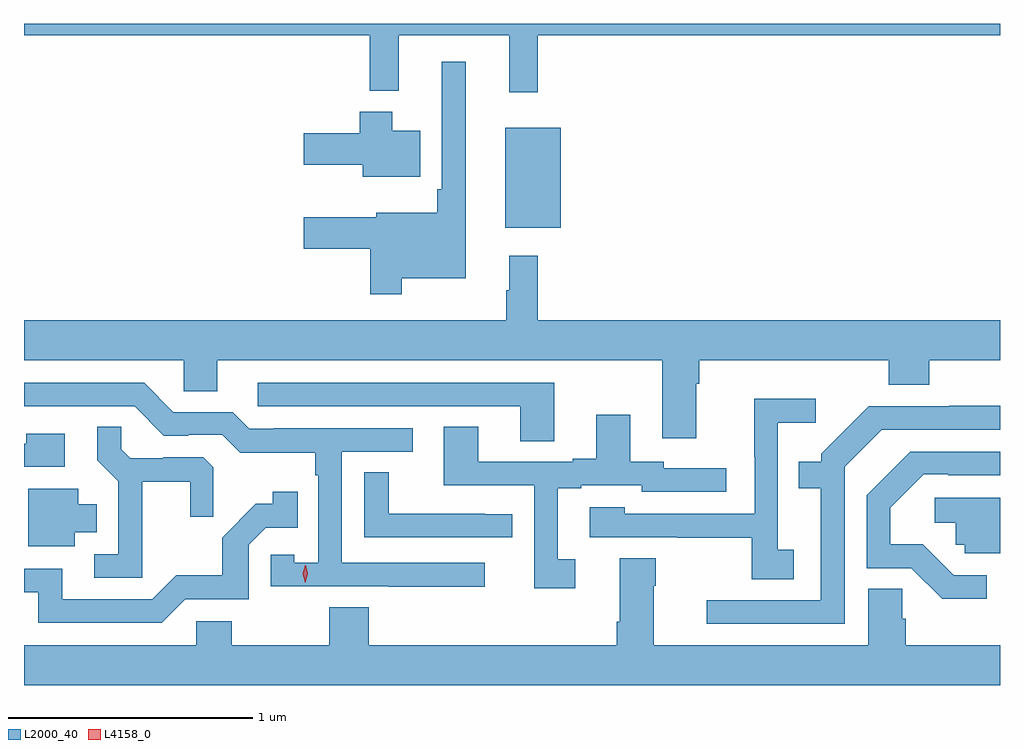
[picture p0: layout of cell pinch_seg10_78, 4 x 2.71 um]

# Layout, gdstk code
import gdstk
lib = gdstk.Library(unit=1e-6, precision=1e-09)
def R(c, l, rs):  # rectangles x0, y0, x1, y1
    for r in rs: c.add(gdstk.rectangle(r[:2], r[2:], *l))
def P(c, l, *ps):  # polygons
    for p in ps: c.add(gdstk.Polygon(p, *l))
L2000_40 = (2000, 40)
L4158_0 = (4158, 0)

pinch_seg10_78 = lib.new_cell('pinch_seg10_78')
R(pinch_seg10_78, L2000_40, [(809.963,1330.163,810.19,1330.573)])
P(pinch_seg10_78, L2000_40, [(810.095,1330.952),(811.99,1330.952),(811.99,1331),(807.99,1331),(807.99,1330.952),(809.407,1330.952),(809.407,1330.724),(809.525,1330.724),(809.525,1330.952),(809.978,1330.952),(809.978,1330.719),(810.095,1330.719)],
  [(809.539,1329.956),(809.8,1329.956),(809.8,1330.843),(809.703,1330.843),(809.703,1330.321),(809.683,1330.321),(809.683,1330.225),(809.433,1330.225),(809.433,1330.207),(809.136,1330.207),(809.136,1330.078),(809.41,1330.078),(809.41,1329.891),(809.539,1329.891)],
  [(809.614,1330.561),(809.5,1330.561),(809.5,1330.639),(809.366,1330.639),(809.366,1330.551),(809.136,1330.551),(809.136,1330.421),(809.378,1330.421),(809.378,1330.373),(809.614,1330.373)],
  [(810.745,1329.524),(810.758,1329.524),(810.758,1329.62),(811.535,1329.62),(811.535,1329.521),(811.7,1329.521),(811.7,1329.62),(811.99,1329.62),(811.99,1329.784),(810.095,1329.784),(810.095,1330.048),(809.978,1330.048),(809.978,1329.908),(809.967,1329.908),(809.967,1329.784),(807.99,1329.784),(807.99,1329.62),(808.644,1329.62),(808.644,1329.493),(808.783,1329.493),(808.783,1329.62),(810.605,1329.62),(810.605,1329.3),(810.745,1329.3)],
  [(809.878,1328.79),(809.292,1328.79),(809.292,1329.246),(809.584,1329.246),(809.584,1329.342),(809.014,1329.342),(809.014,1329.339),(808.914,1329.339),(808.845,1329.408),(808.602,1329.408),(808.482,1329.528),(807.99,1329.528),(807.99,1329.432),(808.443,1329.432),(808.563,1329.312),(808.664,1329.312),(808.664,1329.315),(808.803,1329.315),(808.876,1329.242),(809.184,1329.242),(809.184,1329.149),(809.196,1329.149),(809.196,1328.791),(809.097,1328.791),(809.097,1328.823),(809.001,1328.823),(809.001,1328.694),(809.485,1328.694),(809.485,1328.692),(809.878,1328.692)],
  [(810.163,1329.528),(808.947,1329.528),(808.947,1329.432),(810.023,1329.432),(810.023,1329.289),(810.163,1329.289)],
  [(811.144,1328.844),(811.08,1328.844),(811.08,1329.365),(811.234,1329.365),(811.234,1329.463),(810.982,1329.463),(810.982,1329.224),(810.984,1329.224),(810.984,1328.991),(810.453,1328.991),(810.453,1329.019),(810.309,1329.019),(810.309,1328.895),(810.667,1328.895),(810.667,1328.893),(810.972,1328.893),(810.972,1328.722),(811.144,1328.722)],
  [(811.353,1329.183),(811.506,1329.336),(811.99,1329.336),(811.99,1329.434),(811.783,1329.434),(811.783,1329.432),(811.452,1329.432),(811.257,1329.237),(811.257,1329.205),(811.165,1329.205),(811.165,1329.096),(811.256,1329.096),(811.256,1328.637),(810.789,1328.637),(810.789,1328.541),(811.353,1328.541)],
  [(810.25,1328.805),(810.178,1328.805),(810.178,1329.096),(810.274,1329.096),(810.274,1329.108),(810.522,1329.108),(810.522,1329.081),(810.868,1329.081),(810.868,1329.177),(810.612,1329.177),(810.612,1329.204),(810.475,1329.204),(810.475,1329.397),(810.335,1329.397),(810.335,1329.217),(810.239,1329.217),(810.239,1329.204),(809.851,1329.204),(809.851,1329.347),(809.711,1329.347),(809.711,1329.108),(810.081,1329.108),(810.081,1328.685),(810.25,1328.685)],
  [(808.475,1329.122),(808.672,1329.122),(808.672,1328.979),(808.766,1328.979),(808.766,1329.181),(808.725,1329.222),(808.56,1329.222),(808.56,1329.219),(808.426,1329.219),(808.389,1329.256),(808.389,1329.347),(808.291,1329.347),(808.291,1329.211),(808.377,1329.125),(808.377,1328.826),(808.278,1328.826),(808.278,1328.73),(808.475,1328.73)],
  [(808.156,1329.319),(808,1329.319),(808,1329.279),(807.99,1329.279),(807.99,1329.183),(808.156,1329.183)],
  [(811.936,1328.739),(811.8,1328.739),(811.673,1328.866),(811.54,1328.866),(811.54,1329.016),(811.677,1329.153),(811.777,1329.153),(811.777,1329.15),(811.99,1329.15),(811.99,1329.246),(811.622,1329.246),(811.443,1329.067),(811.443,1328.769),(811.626,1328.769),(811.754,1328.642),(811.936,1328.642)],
  [(809.992,1328.99),(809.879,1328.99),(809.879,1328.991),(809.484,1328.991),(809.484,1329.161),(809.385,1329.161),(809.385,1328.895),(809.992,1328.895)],
  [(808.198,1328.915),(808.288,1328.915),(808.288,1329.031),(808.213,1329.031),(808.213,1329.094),(808.007,1329.094),(808.007,1328.858),(808.198,1328.858)],
  [(808.65,1328.64),(808.911,1328.64),(808.911,1328.865),(808.98,1328.934),(809.111,1328.934),(809.111,1329.082),(809.01,1329.082),(809.01,1329.032),(808.94,1329.032),(808.803,1328.894),(808.803,1328.739),(808.614,1328.739),(808.515,1328.64),(808.147,1328.64),(808.147,1328.766),(807.99,1328.766),(807.99,1328.67),(808.049,1328.67),(808.049,1328.544),(808.554,1328.544)],
  [(811.99,1329.057),(811.722,1329.057),(811.722,1328.954),(811.809,1328.954),(811.809,1328.865),(811.845,1328.865),(811.845,1328.829),(811.99,1328.829)],
  [(811.99,1328.452),(811.604,1328.452),(811.604,1328.562),(811.589,1328.562),(811.589,1328.684),(811.451,1328.684),(811.451,1328.452),(810.571,1328.452),(810.571,1328.696),(810.579,1328.696),(810.579,1328.809),(810.431,1328.809),(810.431,1328.548),(810.419,1328.548),(810.419,1328.452),(809.402,1328.452),(809.402,1328.609),(809.242,1328.609),(809.242,1328.452),(808.842,1328.452),(808.842,1328.55),(808.695,1328.55),(808.695,1328.452),(807.99,1328.452),(807.99,1328.288),(811.99,1328.288)])
P(pinch_seg10_78, L4158_0, [(809.143,1328.709),(809.143,1328.709),(809.133,1328.745),(809.143,1328.781),(809.144,1328.781),(809.144,1328.781),(809.153,1328.745),(809.143,1328.709)])

lib.write_gds('pinch_seg10_78.gds')
